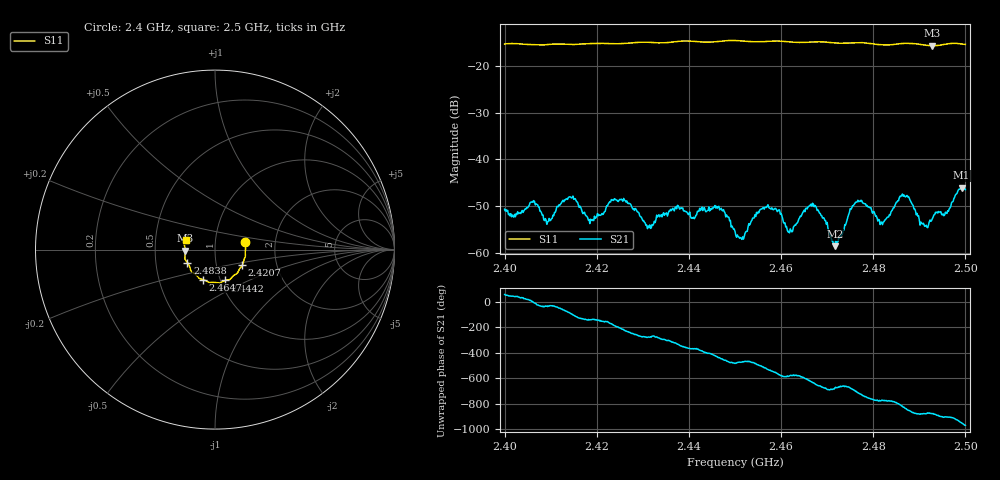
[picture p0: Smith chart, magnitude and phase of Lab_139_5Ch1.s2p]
# Hz S RI R 50
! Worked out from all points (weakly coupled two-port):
!   601 points, 2.4 GHz to 2.5 GHz, reference 50 ohm
!   highest |S21| = -46.05 dB at 2.4992 GHz (marker M1); lowest = -58.6 dB at 2.4717 GHz (marker M2)
!   lowest |S11| = -15.6 dB at 2.4928 GHz (marker M3), VSWR 1.40, Z = 35.8 - j0.399 ohm
!   |S11| at or under -10 dB: start of sweep to end of sweep
!   S12 and S22 are empty: the file has one direction only
!   S11 on the Smith chart (normalised r, x): 2.4 GHz: 1.40, +0.12; 2.4207 GHz: 1.33, -0.24; 2.4442 GHz: 1.05, -0.37; 2.4647 GHz: 0.83, -0.29; 2.4838 GHz: 0.73, -0.11; 2.5 GHz: 0.72, +0.08
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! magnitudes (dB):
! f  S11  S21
! 2.4 GHz  -15.2  -50.7
! 2.4143 GHz  -15.4  -48.1
! 2.4167 GHz  -15.2  -50.7
! 2.4207 GHz  -15.1  -52.0
! 2.4255 GHz  -15.2  -48.7
! 2.4312 GHz  -14.9  -54.3
! 2.4333 GHz  -15.0  -52.1
! 2.4442 GHz  -14.8  -50.9
! 2.45 GHz  -14.5  -55.5
! 2.4567 GHz  -14.7  -50.2
! 2.462 GHz  -14.8  -54.9
! 2.4647 GHz  -14.9  -51.5
! 2.4667 GHz  -14.8  -50.0
! 2.4717 GHz  -15.0  -58.6
! 2.4765 GHz  -15.0  -49.1
! 2.4833 GHz  -15.4  -52.4
! 2.4838 GHz  -15.4  -51.3
! 2.4868 GHz  -15.1  -47.9
! 2.4907 GHz  -15.4  -53.9
! 2.4928 GHz  -15.6  -52.7
! 2.4992 GHz  -15.2  -46.0
! 2.5 GHz  -15.3  -46.5
